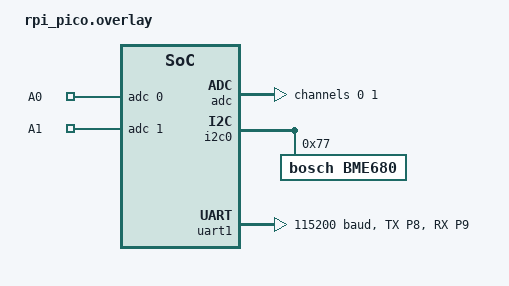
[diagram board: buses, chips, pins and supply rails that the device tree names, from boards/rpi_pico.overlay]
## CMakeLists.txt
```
# SPDX-License-Identifier: Apache-2.0

cmake_minimum_required(VERSION 3.20.0)
set(BOARD rpi_pico)
find_package(Zephyr REQUIRED HINTS $ENV{ZEPHYR_BASE})
project(button_prj)
target_include_directories(app PRIVATE
    driver  # Only specify the drivers directory
)
target_sources(app PRIVATE src/main.c driver/bme680.c driver/analogsensors.c)
```

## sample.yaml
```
sample:
  name: ADC devicetree driver sample
tests:
  sample.drivers.adc.adc_dt:
    tags:
      - adc
    depends_on: adc
    platform_allow:
      - nucleo_l073rz
      - disco_l475_iot1
      - cc3220sf_launchxl
      - cc3235sf_launchxl
      - cy8cproto_063_ble
      - stm32l496g_disco
      - stm32h735g_disco
      - nrf51dk/nrf51822
      - nrf52840dk/nrf52840
      - mec172xevb_assy6906
      - gd32f350r_eval
      - gd32f450i_eval
      - gd32vf103v_eval
      - gd32f403z_eval
      - esp32_devkitc_wroom/esp32/procpu
      - esp32_devkitc_wrover/esp32/procpu
      - esp32s2_saola
      - esp32c3_devkitm
      - gd32l233r_eval
      - lpcxpresso55s36
      - mr_canhubk3
      - longan_nano
      - longan_nano/gd32vf103/lite
    integration_platforms:
      - nucleo_l073rz
      - nrf52840dk/nrf52840
    harness: console
    timeout: 10
    harness_config:
      type: multi_line
      regex:
        - "ADC reading\\[\\d+\\]:"
        - "- .+, channel \\d+: -?\\d+"
```

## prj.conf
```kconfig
CONFIG_GPIO=y
CONFIG_ADC=y

CONFIG_RING_BUFFER=y

CONFIG_SERIAL=y
CONFIG_LOG=y
CONFIG_UART_INTERRUPT_DRIVEN=y


CONFIG_I2C=y
CONFIG_DEBUG=y
CONFIG_NEWLIB_LIBC=y
CONFIG_NEWLIB_LIBC_FLOAT_PRINTF=y
CONFIG_CBPRINTF_FP_SUPPORT=y
```

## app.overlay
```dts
/ {
	leds {
		compatible = "gpio-leds";
		led0: led_0 {
			gpios = <&gpio0 2 GPIO_ACTIVE_LOW>;
			label = "LED1";
		};
	};

};
```

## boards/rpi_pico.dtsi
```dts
/ {
    &adc {
        status = "okay";
        #io-channel-cells = <1>;
        /* Other ADC properties */

        channel1: channel@0 {
            reg = <0>;
            label = "ADC1_CH1";
        };

        channel2: channel@1 {
            reg = <1>;
            label = "ADC1_CH2";
        };
    };

    
};
```

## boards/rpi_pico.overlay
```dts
/*
 * SPDX-License-Identifier: Apache-2.0
 *
 * Copyright (c) 2022 TOKITA Hiroshi <tokita.hiroshi@fujitsu.com>
 */

/ {
	zephyr,user {
		  io-channels = <&adc 0>, <&adc 1>;
        io-channel-names = "A0", "A1";
	};
};

&adc {
	#address-cells = <1>;
	#size-cells = <0>;

	channel@0 {
		reg = <0>;
		zephyr,gain = "ADC_GAIN_1";
		zephyr,reference = "ADC_REF_INTERNAL";
		zephyr,acquisition-time = <ADC_ACQ_TIME_DEFAULT>;
		zephyr,resolution = <12>;
	};
	channel@1 {
		reg = <1>;
		zephyr,gain = "ADC_GAIN_1";
		zephyr,reference = "ADC_REF_INTERNAL";
		zephyr,acquisition-time = <ADC_ACQ_TIME_DEFAULT>;
		zephyr,resolution = <12>;
	};
	
};
&i2c0 {
	status= "okay";
	bme680@77 {
		compatible = "bosch,bme680";
		reg = <0x77>;
	};
};



&pinctrl {
	uart1_default: uart1_default {
		group1 {
			pinmux = <UART1_TX_P8>;
		};
		group2 {
			pinmux = <UART1_RX_P9>;
			input-enable;
			
			
		};
};
};

&uart1 {
current-speed = <115200>;
status = "okay";
pinctrl-0 = <&uart1_default>;
pinctrl-names = "default";
	
};
```

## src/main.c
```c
#include <inttypes.h>
#include <stddef.h>
#include <stdint.h>
#include <string.h>
#include <zephyr/device.h>
#include <zephyr/devicetree.h>
#include <zephyr/drivers/adc.h>
#include <zephyr/drivers/uart.h>
#include <zephyr/kernel.h>
#include <zephyr/logging/log.h>
#include <zephyr/sys/__assert.h>
#include <zephyr/sys/printk.h>
#include <zephyr/sys/ring_buffer.h>
#include <zephyr/sys/util.h>
#include <zephyr/toolchain.h>
#include <zephyr/types.h>

#include "analogsensors.h"
#include "bme680.h"

LOG_MODULE_REGISTER(sensor_node, LOG_LEVEL_DBG);

/* 1000 msec = 1 sec */
#define SLEEP_TIME_MS 1000

/* size of stack area used by each thread */
#define STACKSIZE 512

/* scheduling priority used by each thread */
#define PRIORITY 7

#define start 0xAE

// semaphore for button task
K_SEM_DEFINE(uart_sem, 0, 1);
// mutex to protect curr_led
K_MUTEX_DEFINE(my_mutex);

#define uart_delay 200
/* change this to any other UART peripheral if desired */

#define MSG_SIZE 256

/* queue to store up to 10 messages (aligned to 1-byte boundary) */
K_MSGQ_DEFINE(uart_msgq, MSG_SIZE, 10, 1);

// static const struct device *const uart_dev = DEVICE_DT_GET(UART_DEVICE_NODE);
const struct device *uart = DEVICE_DT_GET(DT_NODELABEL(uart1));
const struct uart_config uart_cfg = {.baudrate = 115200,
                                     .parity = UART_CFG_PARITY_NONE,
                                     .stop_bits = UART_CFG_STOP_BITS_1,
                                     .data_bits = UART_CFG_DATA_BITS_8,
                                     .flow_ctrl = UART_CFG_FLOW_CTRL_NONE};

/* Ring buffer for UART0 data */
#define MY_RING_BUF_BYTES 1024

struct my_uart_data {
  uint8_t buf[MY_RING_BUF_BYTES];
  struct ring_buf rb;
} uart_data;

uint8_t buffer = 0;

#define num_sensors 3

enum cmd {
  // set commands
  set_resolution = 0,
  set_sampling = 1,
  // fectch commands
  get_turbidity = 0x85,
  get_ph = 0x92,
  get_temp = 0xA5,
  get_all = 0xb4
};

typedef struct {
  uint16_t val1;
  uint16_t val2;
} sensor_t;

sensor_t sensors[num_sensors] = {{0, 0}, {0, 0}, {0x1234, 0x5678}};
const float ph_calibration = 0;
const float turb_calibration = 2.56353;
uint8_t resolution = 2;
uint8_t sampling = 1000;

void serial_cb(const struct device *dev, void *user_data) {
  int rx = 0;
  uint8_t *dst;
  uint32_t partial_size = 0;
  uint32_t total_size = 0;

  if (!uart_irq_update(uart)) {
    return;
  }

  if (!uart_irq_rx_ready(uart)) {
    return;
  }
  k_mutex_lock(&my_mutex, K_FOREVER);

  if (uart_irq_update(uart) && uart_irq_rx_ready(uart)) {
    rx = uart_fifo_read(uart, &buffer, 1);  // read a byte

    // while (uart_irq_update(uart) && uart_irq_rx_ready(uart)) {
    //   if (!partial_size) {
    //     partial_size = ring_buf_put_claim(&uart_data.rb, &dst, 1);
    //   }

    //   rx = uart_fifo_read(uart, dst, partial_size);
    //   if (rx <= 0) {
    //     continue;
    //   }
    //   dst += rx;
    //   total_size += rx;
    //   partial_size -= rx;
    // }
    // LOG_INF("size %d", total_size);
    // ring_buf_put_finish(&uart_data.rb, total_size);

    k_mutex_unlock(&my_mutex);
    k_sem_give(&uart_sem);
  }
}

void send_uart() {
  while (1) {
    k_sem_take(&uart_sem, K_FOREVER);
    k_mutex_lock(&my_mutex, K_FOREVER);
    int err;

    uint8_t data;
    size_t len;
    static int flag = 0;
    data = buffer;

    // if (ring_buf_size_get(&uart_data.rb) >= 1) {
    //   len = ring_buf_get(&uart_data.rb, &data, sizeof(data));
    //   /* Process the received data (8 bytes) */
    //   /* ... */
    //   LOG_INF("cmd = %x", data);
    //   // for (int i = 0; i < 8; i++) printk("cmd = %x", data);
    // }

    // extract 4 bit msb as command , 4 bit lsb as data
    // volatile uint8_t cmd = (data & 0xf0) >> 4;
    // volatile uint8_t value = (data & 0x0f);
    LOG_INF("cmd = %x", data);
    volatile uint8_t index = 0;
    volatile uint8_t length = 0;

    // 0..7 is set value command, 8..15 get sensor value command

    // if (cmd > 7) {
    switch (data) {
      case get_turbidity:
        index = 0;
        length = 4;

        break;
      case get_ph:
        index = 1;
        length = 4;
        break;
      case get_temp:
        index = 2;
        length = 4;
        break;
      case get_all:
        index = 0;
        length = 12;  // 4 (32bits)* 3 (sensors)
        break;
      default:
        break;
    }
    k_msleep(10);
    // send sensor values
    if (index < 3) {  // to prevent index out of bound
      uint8_t *buffer = &sensors[index];
      for (int i = 0; i < length; i++) uart_poll_out(uart, buffer[i]);
    }

    // } else {
    //   switch (cmd) {
    //     case set_resolution:
    //       resolution = value;
    //       break;
    //     case set_sampling:
    //       if (value == 1)
    //         sampling = 1600;
    //       else if (value == 2)
    //         sampling = 800;
    //       else if (value == 3)
    //         sampling = 400;
    //       else if (value == 4)
    //         sampling = 200;
    //       else if (value == 5)
    //         sampling = 100;
    //       break;
    //   }
    // }

    k_mutex_unlock(&my_mutex);
    k_msleep(200);
  }
}

int uart_init() {
  if (!device_is_ready(uart)) {
    printk("UART device not found!");
    return 0;
  }

  // int err = uart_configure(uart, &uart_cfg);

  // if (err == -ENOSYS) {
  //   return -ENOSYS;
  // }

  /* configure interrupt and callback to receive data */
  int ret = uart_irq_callback_user_data_set(uart, serial_cb, NULL);

  if (ret < 0) {
    if (ret == -ENOTSUP) {
      printk("Interrupt-driven UART API support not enabled\n");
    } else if (ret == -ENOSYS) {
      printk("UART device does not support interrupt-driven API\n");
    } else {
      printk("Error setting UART callback: %d\n", ret);
    }
    return 0;
  }
  // printk("uart init done");

  ring_buf_init(&uart_data.rb, sizeof(uart_data.buf), uart_data.buf);
  uart_irq_rx_enable(uart);
}
void update_sensordata() {
  uint32_t data[2];
  uint8_t resolu_val = pow(10, resolution);
  while (1) {
    // get analog sensor data
    rd_adc(data);
    // get temperature
    data[2] = get_temperature();
    k_mutex_lock(&my_mutex, K_FOREVER);
    // do conversion and store

    // ph adc channel 1
    float adc1_temp =
        ((((float)data[1] / 4096.0) * 3.3)) * 3.5 + ph_calibration;
    sensors[1].val1 = (int16_t)adc1_temp;
    sensors[1].val2 = (int16_t)((float)(adc1_temp - (int16_t)adc1_temp) *
                                resolu_val);  // 2 decimal points

    // turbidity y=-1120x^2+5742.3x-4352.9 , where x is voltage , y is in NTU
    float x_voltage = ((float)data[0] / 4096.0) * 3.3;
    float x = ((x_voltage) * 0.496558 + turb_calibration);

    float y = ((-1120 * (x) * (x)) + (5742.3 * (x)) - 4352.9) - 1.462352;
    sensors[0].val1 = (int16_t)y;
    sensors[0].val2 =
        (int16_t)((float)(y - (int16_t)y) * resolu_val);  // 2 decimal points

    // temperature from bme680
    float bme_temp = (float)data[2] / 100.0;
    sensors[2].val1 = (uint16_t)bme_temp;
    sensors[2].val2 = (uint16_t)((float)(bme_temp - (uint16_t)bme_temp) *
                                 resolu_val);  // 2 decimal points

    // printk("\nph = %f", adc1_temp);
    // printk("\nturbidity x_vol = %f", x_voltage);
    // printk("\nturbidity x = %f", x);
    // printk("\nturbidity y = %f", y);
    // printk("\ntemperature = %d", data[2]);
    k_mutex_unlock(&my_mutex);
    k_msleep(sampling);
  }
}

int main(void) {
  printk("sensor node started");
  uart_init();

  config_sensor();
  adcsensor_init();

  return 0;
}

K_THREAD_DEFINE(send_uart_task, STACKSIZE, send_uart, NULL, NULL, NULL, 0, 0,
                1000);
// update sensor data
// K_THREAD_DEFINE(update_sensordata_task, 2048, update_sensordata, NULL, NULL,
//                NULL, 0, 0, 1000);
```
